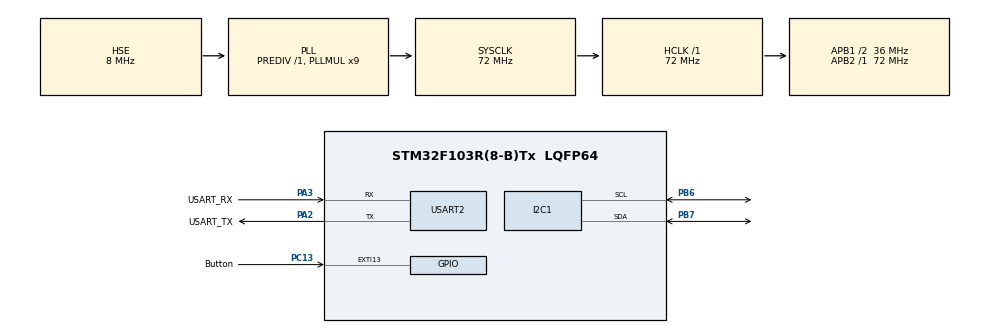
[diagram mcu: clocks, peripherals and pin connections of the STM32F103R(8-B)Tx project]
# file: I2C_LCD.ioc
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Mcu.Family=STM32F1
Mcu.Name=STM32F103R(8-B)Tx
Mcu.Package=LQFP64
NVIC.EXTI15_10_IRQn=true\:0\:0\:false\:false\:true\:true\:true\:true
NVIC.PriorityGroup=NVIC_PRIORITYGROUP_4
NVIC.TIM2_IRQn=true\:0\:0\:false\:false\:true\:true\:true\:true
PA13.Mode=Serial_Wire
PA13.Signal=SYS_JTMS-SWDIO
PA14.Mode=Serial_Wire
PA14.Signal=SYS_JTCK-SWCLK
PA2.GPIO_Label=USART_TX
PA2.GPIO_Mode=GPIO_MODE_AF_PP
PA2.GPIO_PuPd=GPIO_NOPULL
PA2.GPIO_Speed=GPIO_SPEED_FREQ_LOW
PA2.Mode=Asynchronous
PA2.Signal=USART2_TX
PA3.GPIO_Label=USART_RX
PA3.GPIO_Mode=GPIO_MODE_AF_PP
PA3.GPIO_PuPd=GPIO_NOPULL
PA3.GPIO_Speed=GPIO_SPEED_FREQ_LOW
PA3.Mode=Asynchronous
PA3.Signal=USART2_RX
PB6.Mode=I2C
PB6.Signal=I2C1_SCL
PB7.Mode=I2C
PB7.Signal=I2C1_SDA
PC13-TAMPER-RTC.GPIO_Label=Button
PC13-TAMPER-RTC.Signal=GPXTI13
PD0-OSC_IN.Mode=HSE-External-Oscillator
PD0-OSC_IN.Signal=RCC_OSC_IN
PD1-OSC_OUT.Mode=HSE-External-Oscillator
PD1-OSC_OUT.Signal=RCC_OSC_OUT
ProjectManager.HeapSize=0x200
ProjectManager.StackSize=0x400
ProjectManager.TargetToolchain=STM32CubeIDE
RCC.AHBFreq_Value=72000000
RCC.APB1CLKDivider=RCC_HCLK_DIV2
RCC.APB1Freq_Value=36000000
RCC.APB1TimFreq_Value=72000000
RCC.APB2Freq_Value=72000000
RCC.APB2TimFreq_Value=72000000
RCC.HCLKFreq_Value=72000000
RCC.PLLMUL=RCC_PLL_MUL9
RCC.PLLSourceVirtual=RCC_PLLSOURCE_HSE
RCC.RTCClockSelection=RCC_RTCCLKSOURCE_LSE
RCC.SYSCLKFreq_VALUE=72000000
RCC.SYSCLKSource=RCC_SYSCLKSOURCE_PLLCLK
RCC.USBFreq_Value=72000000
TIM2.Period=1000-1
TIM2.Prescaler=7200-1
USART2.VirtualMode=VM_ASYNC
VP_TIM2_VS_ClockSourceINT.Mode=Internal
board=NUCLEO-F103RB

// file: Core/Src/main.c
/* USER CODE BEGIN Header */
/**
  ******************************************************************************
  * @file           : main.c
  * @brief          : Main program body
  ******************************************************************************
  * @attention
  *
  * Copyright (c) 2024 STMicroelectronics.
  * All rights reserved.
  *
  * This software is licensed under terms that can be found in the LICENSE file
  * in the root directory of this software component.
  * If no LICENSE file comes with this software, it is provided AS-IS.
  *
  ******************************************************************************
  */
/* USER CODE END Header */
#include "main.h"

/* USER CODE BEGIN Includes */
#include "i2c-lcd.h"
#include <stdio.h>
#include "stm32f1xx_hal_tim.h"
/* USER CODE END Includes */

I2C_HandleTypeDef hi2c1;

TIM_HandleTypeDef htim2;

UART_HandleTypeDef huart2;

void SystemClock_Config(void);
static void MX_GPIO_Init(void);
static void MX_USART2_UART_Init(void);
static void MX_I2C1_Init(void);
static void MX_TIM2_Init(void);

/* USER CODE BEGIN 0 */
char buffer[16];
int counter;
uint32_t Lasttime = 0;  // 마지막 디바운스 시간
const uint32_t Delaytime = 100;  // 디바운스 지연 시간 (밀리초)
/* USER CODE END 0 */

int main(void)
{

  /* MCU Configuration--------------------------------------------------------*/

  /* Reset of all peripherals, Initializes the Flash interface and the Systick. */
  HAL_Init();

  /* Configure the system clock */
  SystemClock_Config();

  /* Initialize all configured peripherals */
  MX_GPIO_Init();
  MX_USART2_UART_Init();
  MX_I2C1_Init();
  MX_TIM2_Init();
  /* USER CODE BEGIN 2 */
  lcd_init();

  /* USER CODE END 2 */

  /* Infinite loop */
  /* USER CODE BEGIN WHILE */
  while (1)
  {
  	lcd_gotoxy(0,0); // LCD의 첫 번째 줄 첫 번째 위치로 커서 이동
  	sprintf(buffer, "COUNTER = %4d", counter); // 카운터 값을 문자열로 변환하여 buffer에 저장
  	lcd_puts(buffer); // 변환된 카운터 값을 LCD에 출력
    /* USER CODE END WHILE */

  }
}

void SystemClock_Config(void)
{
  RCC_OscInitTypeDef RCC_OscInitStruct = {0};
  RCC_ClkInitTypeDef RCC_ClkInitStruct = {0};

  /** Initializes the RCC Oscillators according to the specified parameters
  * in the RCC_OscInitTypeDef structure.
  */
  RCC_OscInitStruct.OscillatorType = RCC_OSCILLATORTYPE_HSE;
  RCC_OscInitStruct.HSEState = RCC_HSE_ON;
  RCC_OscInitStruct.HSEPredivValue = RCC_HSE_PREDIV_DIV1;
  RCC_OscInitStruct.HSIState = RCC_HSI_ON;
  RCC_OscInitStruct.PLL.PLLState = RCC_PLL_ON;
  RCC_OscInitStruct.PLL.PLLSource = RCC_PLLSOURCE_HSE;
  RCC_OscInitStruct.PLL.PLLMUL = RCC_PLL_MUL9;
  if (HAL_RCC_OscConfig(&RCC_OscInitStruct) != HAL_OK)
  {
    Error_Handler();
  }

  /** Initializes the CPU, AHB and APB buses clocks
  */
  RCC_ClkInitStruct.ClockType = RCC_CLOCKTYPE_HCLK|RCC_CLOCKTYPE_SYSCLK
                              |RCC_CLOCKTYPE_PCLK1|RCC_CLOCKTYPE_PCLK2;
  RCC_ClkInitStruct.SYSCLKSource = RCC_SYSCLKSOURCE_PLLCLK;
  RCC_ClkInitStruct.AHBCLKDivider = RCC_SYSCLK_DIV1;
  RCC_ClkInitStruct.APB1CLKDivider = RCC_HCLK_DIV2;
  RCC_ClkInitStruct.APB2CLKDivider = RCC_HCLK_DIV1;

  if (HAL_RCC_ClockConfig(&RCC_ClkInitStruct, FLASH_LATENCY_2) != HAL_OK)
  {
    Error_Handler();
  }
}

static void MX_I2C1_Init(void)
{

  hi2c1.Instance = I2C1;
  hi2c1.Init.ClockSpeed = 100000;
  hi2c1.Init.DutyCycle = I2C_DUTYCYCLE_2;
  hi2c1.Init.OwnAddress1 = 0;
  hi2c1.Init.AddressingMode = I2C_ADDRESSINGMODE_7BIT;
  hi2c1.Init.DualAddressMode = I2C_DUALADDRESS_DISABLE;
  hi2c1.Init.OwnAddress2 = 0;
  hi2c1.Init.GeneralCallMode = I2C_GENERALCALL_DISABLE;
  hi2c1.Init.NoStretchMode = I2C_NOSTRETCH_DISABLE;
  if (HAL_I2C_Init(&hi2c1) != HAL_OK)
  {
    Error_Handler();
  }

}

static void MX_TIM2_Init(void)
{

  TIM_ClockConfigTypeDef sClockSourceConfig = {0};
  TIM_MasterConfigTypeDef sMasterConfig = {0};

  htim2.Instance = TIM2;
  htim2.Init.Prescaler = 7200-1;
  htim2.Init.CounterMode = TIM_COUNTERMODE_UP;
  htim2.Init.Period = 1000-1;
  htim2.Init.ClockDivision = TIM_CLOCKDIVISION_DIV1;
  htim2.Init.AutoReloadPreload = TIM_AUTORELOAD_PRELOAD_DISABLE;
  if (HAL_TIM_Base_Init(&htim2) != HAL_OK)
  {
    Error_Handler();
  }
  sClockSourceConfig.ClockSource = TIM_CLOCKSOURCE_INTERNAL;
  if (HAL_TIM_ConfigClockSource(&htim2, &sClockSourceConfig) != HAL_OK)
  {
    Error_Handler();
  }
  sMasterConfig.MasterOutputTrigger = TIM_TRGO_RESET;
  sMasterConfig.MasterSlaveMode = TIM_MASTERSLAVEMODE_DISABLE;
  if (HAL_TIMEx_MasterConfigSynchronization(&htim2, &sMasterConfig) != HAL_OK)
  {
    Error_Handler();
  }

}

static void MX_USART2_UART_Init(void)
{

  huart2.Instance = USART2;
  huart2.Init.BaudRate = 115200;
  huart2.Init.WordLength = UART_WORDLENGTH_8B;
  huart2.Init.StopBits = UART_STOPBITS_1;
  huart2.Init.Parity = UART_PARITY_NONE;
  huart2.Init.Mode = UART_MODE_TX_RX;
  huart2.Init.HwFlowCtl = UART_HWCONTROL_NONE;
  huart2.Init.OverSampling = UART_OVERSAMPLING_16;
  if (HAL_UART_Init(&huart2) != HAL_OK)
  {
    Error_Handler();
  }

}

static void MX_GPIO_Init(void)
{
  GPIO_InitTypeDef GPIO_InitStruct = {0};

  /* GPIO Ports Clock Enable */
  __HAL_RCC_GPIOC_CLK_ENABLE();
  __HAL_RCC_GPIOD_CLK_ENABLE();
  __HAL_RCC_GPIOA_CLK_ENABLE();
  __HAL_RCC_GPIOB_CLK_ENABLE();

  /*Configure GPIO pin : Button_Pin */
  GPIO_InitStruct.Pin = Button_Pin;
  GPIO_InitStruct.Mode = GPIO_MODE_IT_RISING;
  GPIO_InitStruct.Pull = GPIO_NOPULL;
  HAL_GPIO_Init(Button_GPIO_Port, &GPIO_InitStruct);

  /* EXTI interrupt init*/
  HAL_NVIC_SetPriority(EXTI15_10_IRQn, 0, 0);
  HAL_NVIC_EnableIRQ(EXTI15_10_IRQn);

}

/* USER CODE BEGIN 4 */
void HAL_GPIO_EXTI_Callback(uint16_t GPIO_Pin)
  {
  	if(GPIO_Pin == Button_Pin)
  	{
  		uint32_t currentTime = HAL_GetTick();  // 현재 시간 가져오기
  		if ((currentTime - Lasttime) > Delaytime)
  		{
  			counter++;
  			Lasttime = currentTime;
  		}
  	}
  }
/* USER CODE END 4 */

void Error_Handler(void)
{
  __disable_irq();
  while (1)
  {
  }
}
